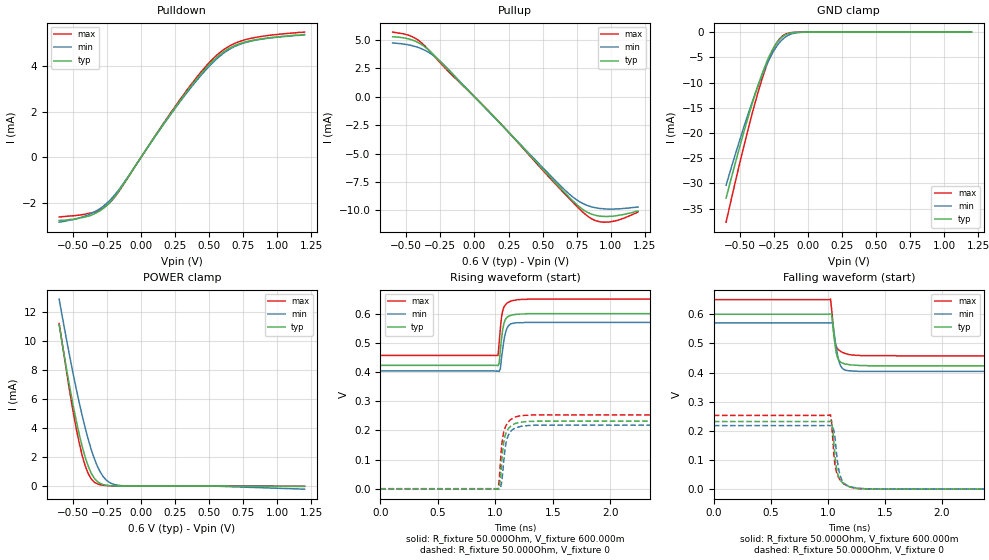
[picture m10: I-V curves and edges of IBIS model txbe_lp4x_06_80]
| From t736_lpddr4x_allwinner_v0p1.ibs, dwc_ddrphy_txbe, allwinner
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[Model] txbe_lp4x_06_80
Model_type   I/O
Polarity   Non-Inverting
Enable   Active-High
C_comp   1.523pF   1.517pF   1.525pF
C_comp_pullup   285.300fF   279.338fF   289.304fF
C_comp_pulldown 1.173pF   1.169pF   1.174pF
Vinh = 420.000mV
Vinl = 300.000mV
Vmeas = 360.000mV
Vref = 360.000mV
Rref = 50Ohms
Cref = 0pF
[Model Spec]
Vinh   420.000mV   402.000mV   450.000mV
Vinl   300.000mV   282.000mV   330.000mV
Vmeas   360.000mV   342.000mV   390.000mV
Vref   360.000mV   342.000mV   390.000mV
D_overshoot_ampl_h 0.1 NA   NA
D_overshoot_ampl_l 0.1 NA   NA
D_overshoot_area_l 300.000m NA   NA
D_overshoot_area_h 300.000m NA   NA
[Receiver Thresholds]
Vth = 180.000mV
Vth_min = 171.000mV
Vth_max = 195.000mV
Vinh_ac = 60.000mV
Vinh_dc = 60.000mV
Vinl_ac = -60.000mV
Vinl_dc = -60.000mV
Tslew_ac = 5.000ns
Threshold_sensitivity = 0.5
Reference_supply Pullup_ref
[Temperature Range]   25.000   125.000   -40.000
[Voltage Range]   600.000mV   570.000mV   650.000mV
[GND Clamp Reference]   0.00V   0.00V   0.00V
[C Comp Corner]
| variable   typ   min   max
C_comp 1.523pF   1.525pF   1.517pF
C_comp_pullup 285.300fF   289.304fF   279.338fF
C_comp_pulldown 1.174pF   1.169pF   1.173pF
[Pulldown Reference]   0.00V   0.00V   0.00V
[POWER Clamp Reference]   600.000mV   570.000mV   650.000mV
[Pullup Reference]   600.000mV   570.000mV   650.000mV
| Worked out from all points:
|   slope of the pulldown table from 0 to 0.09 V, typ, clamps not added: 112 ohm
|   slope of the pullup table from 0 to 0.09 V, typ, clamps not added: 81.7 ohm
|   GND clamp passes 1 mA (typ) near -0.19 V on its own axis
|   POWER clamp passes 1 mA (typ) near -0.37 V on its own axis
|   rising waveform, R_fixture 50.000Ohm, V_fixture 600.000m: 20-80 % time 33.8ps typ, 39.5ps min, 32.8ps max; typ from 0.423 V to 0.6 V
|   rising waveform, R_fixture 50.000Ohm, V_fixture 0: 20-80 % time 42ps typ, 43.1ps min, 41.7ps max; typ from 0 V to 0.232 V
|   falling waveform, R_fixture 50.000Ohm, V_fixture 600.000m: 20-80 % time 37.7ps typ, 43.8ps min, 34.9ps max; typ from 0.6 V to 0.423 V
|   falling waveform, R_fixture 50.000Ohm, V_fixture 0: 20-80 % time 44.2ps typ, 46.8ps min, 44.5ps max; typ from 0.232 V to 0 V
[GND Clamp]
-600mV    -32.9mA    -30.34mA   -37.67mA
-520mV    -24.72mA   -23.14mA   -28.26mA
-450mV    -17.94mA   -17.17mA   -20.47mA
-390mV    -12.57mA   -12.43mA   -14.28mA
-350mV    -9.322mA   -9.536mA   -10.51mA
-300mV    -5.776mA   -6.325mA   -6.387mA
-260mV    -3.48mA    -4.17mA    -3.72mA
-230mV    -2.148mA   -2.848mA   -2.186mA
-190mV    -944.8uA   -1.525mA   -846.8uA
-130mV    -181.2uA   -442.4uA   -112.9uA
-40mV     -5.84uA    -25.59uA   -2.009uA
1.2V      1.334uA    15.69uA    382.2nA
[Power Clamp]
-600mV    11.13mA    12.9mA     11.21mA
-540mV    7.742mA    9.795mA    7.545mA
-490mV    5.209mA    7.393mA    4.724mA
-450mV    3.451mA    5.628mA    2.843mA
-410mV    2.018mA    4.041mA    1.424mA
-370mV    991.9uA    2.677mA    564.3uA
-340mV    511.3uA    1.836mA    253.5uA
-300mV    184.6uA    990.3uA    91.06uA
-250mV    47.48uA    374.4uA    29.24uA
-190mV    8.503uA    91.82uA    6.144uA
-120mV    854.3nA    14.26uA    451.4nA
1.2V      -28.33uA   -215.9uA   -5.856uA
[Pulldown]
-600mV    -2.76mA    -2.83mA    -2.6mA
-370mV    -2.54mA    -2.46mA    -2.43mA
-300mV    -2.328mA   -2.235mA   -2.285mA
-230mV    -1.978mA   -1.885mA   -1.985mA
-150mV    -1.361mA   -1.311mA   -1.382mA
130mV     1.158mA    1.134mA    1.176mA
330mV     2.827mA    2.772mA    2.882mA
480mV     3.924mA    3.849mA    4.006mA
600mV     4.587mA    4.524mA    4.677mA
700mV     4.915mA    4.878mA    5.011mA
810mV     5.103mA    5.083mA    5.205mA
1.2V      5.37mA     5.36mA     5.474mA
[Pullup]
-600mV    5.28mA     4.73mA     5.689mA
-430mV    4.868mA    4.405mA    5.118mA
-360mV    4.355mA    4.068mA    4.431mA
-280mV    3.456mA    3.425mA    3.368mA
160mV     -1.97mA    -1.991mA   -1.95mA
650mV     -8.272mA   -8.047mA   -8.381mA
750mV     -9.476mA   -9.062mA   -9.621mA
840mV     -10.22mA   -9.608mA   -10.58mA
900mV     -10.46mA   -9.787mA   -10.94mA
990mV     -10.52mA   -9.88mA    -11.01mA
1.07V     -10.4mA    -9.85mA    -10.79mA
1.2V      -10.04mA   -9.7mA     -10.12mA
[Ramp]
R_load=50.000Ohm
dV/dt_r   122.677mV/38.500ps  115.013mV/42.000ps  133.795mV/37.500ps
dV/dt_f   122.676mV/41.000ps  115.013mV/45.500ps  133.795mV/40.000ps
[Rising waveform]
R_fixture=50.000Ohm
V_fixture=600.000m
V_fixture_min=570.000m
V_fixture_max=650.000m
0s        423mV      404mV      457mV
1.023ns   422mV      403mV      457mV
1.033ns   431mV      402mV      503mV
1.043ns   477mV      412mV      550mV
1.053ns   514mV      449mV      588mV
1.073ns   565mV      506mV      622mV
1.093ns   584mV      542mV      633mV
1.113ns   591mV      558mV      639mV
1.223ns   599mV      569mV      649mV
10ns      600mV      570mV      650mV
[Rising waveform]
R_fixture=50.000Ohm
V_fixture=0
0s        75.22uV    623.1uV    15.21uV
1.023ns   -1.142mV   201uV      -770.5uV
1.033ns   2.184mV    -581.5uV   28.22mV
1.053ns   82.86mV    19.39mV    144mV
1.063ns   131mV      52.48mV    176mV
1.083ns   180mV      134mV      208mV
1.103ns   200mV      174mV      224mV
1.133ns   215mV      197mV      237mV
1.253ns   230mV      216mV      252mV
10ns      232mV      218mV      253mV
[Falling waveform]
R_fixture=50.000Ohm
V_fixture=600.000m
V_fixture_min=570.000m
V_fixture_max=650.000m
0s        600mV      570mV      650mV
1.023ns   601mV      570mV      652mV
1.033ns   601mV      571mV      616mV
1.043ns   559mV      571mV      574mV
1.063ns   493mV      511mV      504mV
1.083ns   453mV      462mV      482mV
1.103ns   439mV      431mV      475mV
1.133ns   432mV      412mV      468mV
1.283ns   424mV      404mV      458mV
10ns      423mV      404mV      457mV
[Falling waveform]
R_fixture=50.000Ohm
V_fixture=0
0s        232mV      218mV      253mV
1.023ns   233mV      218mV      255mV
1.033ns   233mV      219mV      227mV
1.053ns   158mV      199mV      115mV
1.063ns   111mV      175mV      80.08mV
1.083ns   56.82mV    97.09mV    49.32mV
1.103ns   34.81mV    52.94mV    33.82mV
1.133ns   20.25mV    24.71mV    20.39mV
1.283ns   1.788mV    3.011mV    1.344mV
10ns      80.09uV    623.9uV    18.02uV
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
